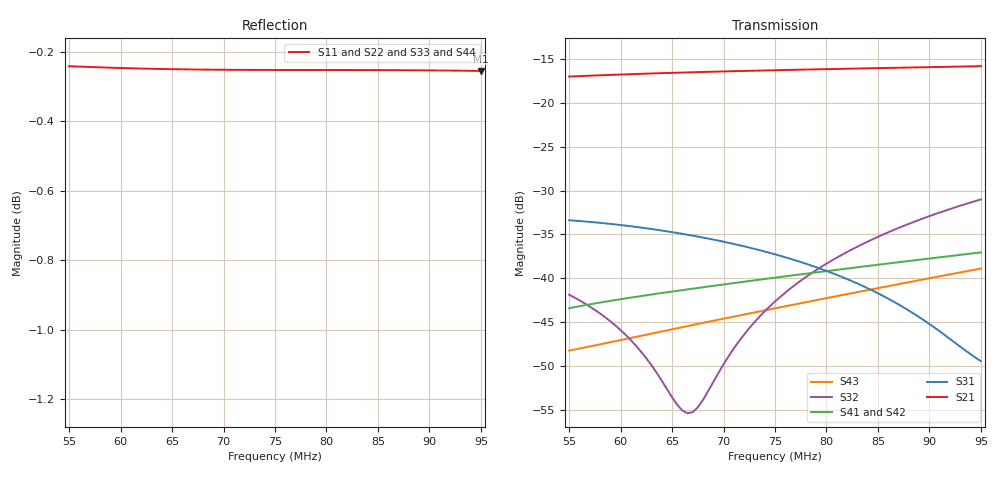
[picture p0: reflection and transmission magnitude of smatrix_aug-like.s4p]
! TOUCHSTONE file generated by CST MICROWAVE STUDIO
! Date and time: Sat Mar 20 20:07:13 2021
! Project name: test_v14dpp.cst
! Parameters = {addx=1; addy=1; ant_d=0.2; ant_h=0.63; ant_w=0.885; bars_diameter=0.018; bars_distance=0.0357647; bars_no=16; box_left_xc=-0.095; box_mid_w=0.225; box_mid_xc=0.1875; box_outer_w=0.28; bridge_h=0.04; bridge_outer_yc=0; bridge_thickness=0.02; clearance=0.062; coax_a=0.054; coax_b=0.081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
! Header version: 2018
! Port assignment regex: !\s*Touchstone port\s*([0-9]+)\s*=\s*(CST MWS port|CST DS port)\s*([0-9]+|Zmin|Zmax)\s*\(\"(.*)\"\)(\s*mode\s*([0-9]+))?.*
! Touchstone port assignment:
! Touchstone port 1 = CST MWS port 1 ("")
! Touchstone port 2 = CST MWS port 2 ("")
! Touchstone port 3 = CST MWS port 3 ("")
! Touchstone port 4 = CST MWS port 4 ("")
! S-Parameters are not renormalized. Unphysical impedance of 50 will be written to the file.
# MHz S MA R 50
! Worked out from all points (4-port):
!   81 points, 55 MHz to 95 MHz, reference per port
!   strongest paths, dB at 55 MHz, 65 MHz, 75 MHz, 85 MHz, 95 MHz:
!     S21: -17.0, -16.6, -16.3, -16.0, -15.8
!     S31: -33.4, -34.7, -37.3, -41.7, -49.4
!     S41: -43.4, -41.5, -39.9, -38.4, -37.0
!     S42: -43.3, -41.5, -40.0, -38.6, -37.4
!     S32: -41.9, -53.6, -42.6, -35.3, -31.0
!     S43: -48.2, -45.8, -43.4, -41.1, -38.9
!   lowest |S11| = -0.3 dB at 95 MHz (marker M1), VSWR 68.32
!   |S11| at or under -10 dB: nowhere
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55  0.9727 67.6  0.1414 -18.7  0.02143 -21.3  0.006749 1.4
    0.1414 -18.7  0.9729 67.6  0.008071 -38.9  0.006872 -178.1
    0.02144 -21.3  0.008071 -38.9  0.9754 66.6  0.003873 -0.6
    0.006751 1.4  0.006873 -178.0  0.003874 -0.6  0.9754 91.8
60.5  0.972 59.5  0.1456 -26.9  0.01997 -30.7  0.007683 -8.9
      0.1456 -26.9  0.9723 59.4  0.004756 -58.0  0.007775 171.5
      0.01998 -30.7  0.004756 -58.0  0.9731 54.4  0.004507 -13.3
      0.007685 -8.9  0.007776 171.5  0.004507 -13.3  0.9734 82.0
67  0.9716 50.4  0.1496 -36.1  0.01751 -41.2  0.008728 -20.6
    0.1496 -36.1  0.9718 50.3  0.001725 -149.3  0.008765 159.6
    0.01751 -41.2  0.001725 -149.3  0.9705 39.4  0.005415 -28.9
    0.008731 -20.6  0.008766 159.6  0.005416 -28.9  0.9711 70.0
72.5  0.9715 43.1  0.1525 -43.4  0.01497 -49.5  0.009649 -30.3
      0.1525 -43.4  0.9716 43.0  0.005199 139.6  0.009622 149.8
      0.01497 -49.5  0.005199 139.6  0.9682 26.2  0.006302 -42.7
      0.009652 -30.3  0.009623 149.8  0.006303 -42.7  0.9693 59.5
77.5  0.9714 36.7  0.1548 -49.9  0.01239 -56.1  0.01053 -39.1
      0.1548 -49.9  0.9715 36.7  0.009695 121.0  0.01043 140.7
      0.01239 -56.1  0.009695 121.0  0.9661 13.7  0.007212 -55.6
      0.01054 -39.1  0.01043 140.7  0.007213 -55.6  0.9678 49.6
86.5  0.9714 25.8  0.1586 -60.9  0.007377 -63.0  0.01225 -55.3
      0.1586 -60.9  0.9713 25.8  0.01884 98.4  0.01195 124.2
      0.007378 -63.0  0.01884 98.4  0.9623 -10.4  0.009145 -80.0
      0.01225 -55.3  0.01195 124.2  0.009146 -80.0  0.9654 31.0
95  0.9711 16.1  0.1621 -70.8  0.003372 -41.1  0.01405 -71.0
    0.1621 -70.8  0.9707 16.0  0.02818 79.1  0.01349 108.1
    0.003373 -41.1  0.02818 79.1  0.9587 -35.3  0.01136 -104.6
    0.01406 -71.0  0.01349 108.1  0.01137 -104.6  0.9635 12.4
